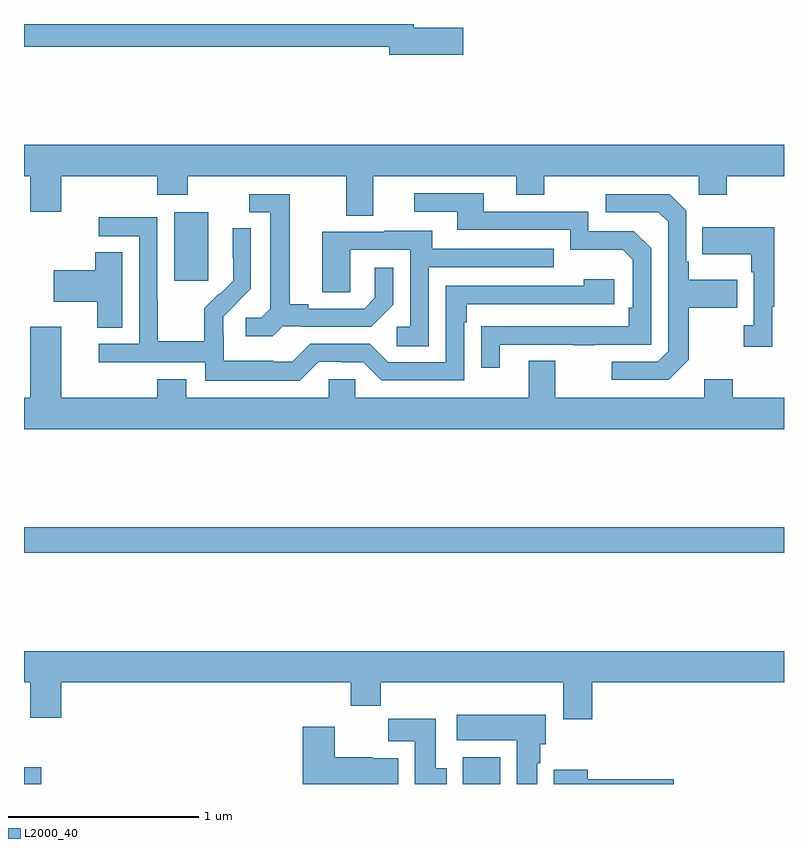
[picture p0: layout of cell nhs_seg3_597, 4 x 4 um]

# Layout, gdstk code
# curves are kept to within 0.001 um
import gdstk
lib = gdstk.Library(unit=1e-6, precision=1e-09)
def R(c, l, rs):  # rectangles x0, y0, x1, y1
    for r in rs: c.add(gdstk.rectangle(r[:2], r[2:], *l))
def P(c, l, *ps):  # polygons
    for p in ps: c.add(gdstk.Polygon(p, *l))
L2000_40 = (2000, 40)

nhs_seg3_597 = lib.new_cell('nhs_seg3_597')
R(nhs_seg3_597, L2000_40, [(141,680.4,141.091,680.488), (143.309,680.4,143.506,680.542), (141,681.616,145,681.752), (141.791,683.049,141.97,683.41)])
P(nhs_seg3_597, L2000_40, [(143.311,684.38),(143.05,684.38),(143.05,684.4),(141,684.4),(141,684.28),(142.922,684.28),(142.922,684.238),(143.311,684.238)],
  [(142.837,683.6),(143.591,683.6),(143.591,683.501),(143.739,683.501),(143.739,683.6),(144.552,683.6),(144.552,683.501),(144.699,683.501),(144.699,683.6),(145,683.6),(145,683.764),(141,683.764),(141,683.6),(141.032,683.6),(141.032,683.412),(141.196,683.412),(141.196,683.6),(141.701,683.6),(141.701,683.501),(141.861,683.501),(141.861,683.6),(142.697,683.6),(142.697,683.392),(142.837,683.392)],
  [(143.503,682.713),(143.893,682.713),(143.893,682.708),(144.005,682.708),(144.005,682.713),(144.3,682.713),(144.3,683.22),(144.21,683.31),(143.97,683.31),(143.97,683.412),(143.419,683.412),(143.419,683.508),(143.055,683.508),(143.055,683.412),(143.279,683.412),(143.279,683.316),(143.874,683.316),(143.874,683.213),(144.151,683.213),(144.204,683.16),(144.204,682.906),(144.184,682.906),(144.184,682.809),(143.407,682.808),(143.407,682.59),(143.503,682.59)],
  [(142.362,682.809),(142.456,682.809),(142.456,682.806),(142.828,682.806),(142.944,682.922),(142.944,683.116),(142.847,683.116),(142.847,682.959),(142.79,682.902),(142.495,682.902),(142.495,682.925),(142.399,682.925),(142.399,683.505),(142.185,683.505),(142.185,683.409),(142.295,683.409),(142.295,682.901),(142.248,682.854),(142.167,682.854),(142.167,682.757),(142.31,682.757)],
  [(144.499,682.633),(144.499,682.906),(144.755,682.906),(144.755,683.053),(144.499,683.053),(144.499,683.149),(144.486,683.149),(144.486,683.418),(144.399,683.505),(144.063,683.505),(144.063,683.409),(144.339,683.409),(144.39,683.358),(144.39,682.677),(144.336,682.623),(144.093,682.623),(144.093,682.527),(144.393,682.527)],
  [(142.551,682.623),(142.667,682.623),(142.667,682.62),(142.785,682.62),(142.881,682.524),(143.316,682.524),(143.316,682.829),(143.329,682.829),(143.329,682.926),(144.106,682.926),(144.106,683.056),(143.945,683.056),(143.945,683.022),(143.22,683.022),(143.22,682.62),(142.917,682.62),(142.821,682.716),(142.506,682.716),(142.413,682.623),(142.313,682.623),(142.313,682.627),(142.05,682.627),(142.05,682.761),(142.048,682.761),(142.048,682.858),(142.194,683.006),(142.194,683.324),(142.098,683.324),(142.098,683.17),(142.1,683.17),(142.1,683.048),(142.029,682.977),(142.026,682.98),(141.949,682.903),(141.949,682.729),(141.705,682.729),(141.705,682.952),(141.702,682.952),(141.702,683.382),(141.393,683.382),(141.393,683.283),(141.606,683.283),(141.606,682.716),(141.393,682.716),(141.393,682.62),(141.954,682.62),(141.954,682.523),(142.451,682.523)],
  [(144.937,682.913),(144.949,682.913),(144.949,683.329),(144.571,683.329),(144.571,683.189),(144.828,683.189),(144.828,683.093),(144.84,683.093),(144.84,682.814),(144.789,682.814),(144.789,682.701),(144.937,682.701)],
  [(143.13,683.121),(143.789,683.121),(143.789,683.217),(143.149,683.217),(143.149,683.311),(142.895,683.311),(142.895,683.307),(142.571,683.307),(142.571,682.987),(142.716,682.987),(142.716,683.211),(143.034,683.211),(143.034,682.806),(142.962,682.806),(142.962,682.705),(143.13,682.705)],
  [(141.517,683.198),(141.374,683.198),(141.374,683.103),(141.156,683.103),(141.156,682.937),(141.386,682.937),(141.386,682.801),(141.517,682.801)],
  [(145,682.432),(144.729,682.432),(144.729,682.531),(144.581,682.531),(144.581,682.432),(143.797,682.432),(143.797,682.627),(143.657,682.627),(143.657,682.432),(142.743,682.432),(142.743,682.53),(142.605,682.53),(142.605,682.432),(141.853,682.432),(141.853,682.531),(141.701,682.531),(141.701,682.432),(141.196,682.432),(141.196,682.807),(141.032,682.807),(141.032,682.432),(141,682.432),(141,682.268),(145,682.268)],
  [(143.99,680.936),(145,680.936),(145,681.1),(141,681.1),(141,680.936),(141.032,680.936),(141.032,680.748),(141.196,680.748),(141.196,680.936),(142.721,680.936),(142.721,680.812),(142.877,680.812),(142.877,680.936),(143.837,680.936),(143.837,680.742),(143.99,680.742)],
  [(143.701,680.51),(143.716,680.51),(143.716,680.61),(143.746,680.61),(143.746,680.764),(143.277,680.764),(143.277,680.63),(143.594,680.63),(143.594,680.4),(143.701,680.4)],
  [(143.224,680.484),(143.167,680.484),(143.167,680.743),(142.918,680.743),(142.918,680.624),(143.057,680.624),(143.057,680.4),(143.224,680.4)],
  [(142.969,680.536),(142.836,680.536),(142.836,680.542),(142.636,680.542),(142.636,680.701),(142.466,680.701),(142.466,680.4),(142.969,680.4)],
  [(144.421,680.426),(143.968,680.426),(143.968,680.476),(143.789,680.476),(143.789,680.4),(144.421,680.4)])

lib.write_gds('nhs_seg3_597.gds')
